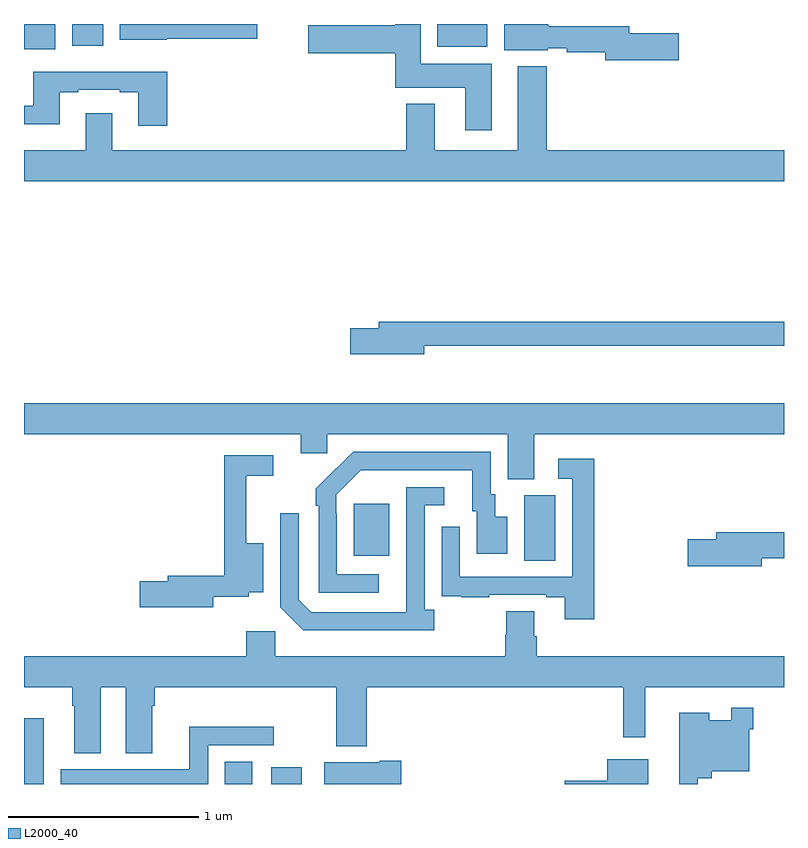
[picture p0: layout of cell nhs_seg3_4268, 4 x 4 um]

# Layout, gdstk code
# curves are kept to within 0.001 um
import gdstk
lib = gdstk.Library(unit=1e-6, precision=1e-09)
def R(c, l, rs):  # rectangles x0, y0, x1, y1
    for r in rs: c.add(gdstk.rectangle(r[:2], r[2:], *l))
def P(c, l, *ps):  # polygons
    for p in ps: c.add(gdstk.Polygon(p, *l))
L2000_40 = (2000, 40)

nhs_seg3_4268 = lib.new_cell('nhs_seg3_4268')
R(nhs_seg3_4268, L2000_40, [(337,708.4,337.105,708.745), (338.057,708.4,338.2,708.518), (338.3,708.4,338.461,708.487), (339.632,709.576,339.796,709.92), (338.735,709.601,338.923,709.876), (337,712.268,337.165,712.4), (339.176,712.28,339.439,712.4), (337.253,712.286,337.417,712.4)])
P(nhs_seg3_4268, L2000_40, [(339.463,712.192),(339.088,712.192),(339.088,712.4),(338.954,712.4),(338.954,712.394),(338.496,712.394),(338.496,712.247),(338.954,712.247),(338.954,712.064),(339.323,712.064),(339.323,711.84),(339.463,711.84)],
  [(340.447,712.352),(340.186,712.352),(340.186,712.388),(339.76,712.388),(339.76,712.4),(339.527,712.4),(339.527,712.262),(339.756,712.262),(339.756,712.272),(339.856,712.272),(339.856,712.252),(340.058,712.252),(340.058,712.21),(340.447,712.21)],
  [(337.752,712.322),(338.227,712.322),(338.227,712.4),(337.505,712.4),(337.505,712.316),(337.752,712.316)],
  [(341,711.736),(339.752,711.736),(339.752,712.177),(339.599,712.177),(339.599,711.736),(339.163,711.736),(339.163,711.979),(339.011,711.979),(339.011,711.736),(337.465,711.736),(337.465,711.931),(337.325,711.931),(337.325,711.736),(337,711.736),(337,711.572),(341,711.572)],
  [(337.754,712.15),(337.049,712.15),(337.049,711.969),(337,711.969),(337,711.872),(337.189,711.872),(337.189,712.041),(337.285,712.041),(337.285,712.053),(337.505,712.053),(337.505,712.041),(337.601,712.041),(337.601,711.864),(337.754,711.864)],
  [(339.106,710.706),(341,710.706),(341,710.834),(338.867,710.834),(338.867,710.798),(338.718,710.798),(338.718,710.663),(339.106,710.663)],
  [(339.685,710.24),(341,710.24),(341,710.404),(337,710.404),(337,710.24),(338.456,710.24),(338.456,710.142),(338.595,710.142),(338.595,710.24),(339.545,710.24),(339.545,710.005),(339.685,710.005)],
  [(338.866,709.503),(338.646,709.503),(338.646,709.823),(338.643,709.823),(338.643,709.923),(338.772,710.052),(339.359,710.052),(339.359,709.836),(339.383,709.836),(339.383,709.611),(339.544,709.611),(339.544,709.807),(339.481,709.807),(339.481,709.926),(339.456,709.926),(339.456,710.148),(338.732,710.148),(338.535,709.953),(338.535,709.865),(338.55,709.865),(338.55,709.407),(338.866,709.407)],
  [(337.996,709.385),(338.184,709.385),(338.184,709.409),(338.26,709.409),(338.26,709.666),(338.171,709.666),(338.171,710.022),(338.311,710.022),(338.311,710.13),(338.053,710.13),(338.053,709.496),(337.757,709.496),(337.757,709.466),(337.608,709.466),(337.608,709.331),(337.996,709.331)],
  [(340.001,710.113),(339.813,710.113),(339.813,710.007),(339.885,710.007),(339.885,709.491),(339.294,709.491),(339.294,709.753),(339.198,709.753),(339.198,709.498),(339.199,709.498),(339.199,709.389),(339.301,709.389),(339.301,709.383),(339.449,709.383),(339.449,709.395),(339.749,709.395),(339.749,709.383),(339.845,709.383),(339.845,709.266),(340.001,709.266)],
  [(339.16,709.318),(339.108,709.318),(339.108,709.866),(339.211,709.866),(339.211,709.962),(339.012,709.962),(339.011,709.305),(338.511,709.305),(338.445,709.371),(338.445,709.825),(338.349,709.825),(338.349,709.329),(338.47,709.208),(339.16,709.208)],
  [(340.882,709.588),(341,709.588),(341,709.724),(340.643,709.724),(340.643,709.688),(340.494,709.688),(340.494,709.546),(340.882,709.546)],
  [(339.538,709.31),(339.538,709.185),(339.533,709.185),(339.533,709.072),(338.322,709.072),(338.322,709.204),(338.171,709.204),(338.171,709.072),(337,709.072),(337,708.908),(337.253,708.908),(337.253,708.812),(337.265,708.812),(337.265,708.563),(337.405,708.563),(337.405,708.908),(337.535,708.908),(337.535,708.563),(337.675,708.563),(337.675,708.812),(337.688,708.812),(337.688,708.908),(338.644,708.908),(338.644,708.599),(338.804,708.599),(338.804,708.908),(340.153,708.908),(340.153,708.645),(340.27,708.645),(340.27,708.908),(341,708.908),(341,709.072),(339.698,709.072),(339.698,709.178),(339.685,709.178),(339.685,709.31)],
  [(340.545,708.431),(340.619,708.431),(340.619,708.467),(340.818,708.467),(340.818,708.689),(340.838,708.689),(340.838,708.802),(340.722,708.802),(340.722,708.736),(340.606,708.736),(340.606,708.775),(340.448,708.775),(340.448,708.4),(340.545,708.4)],
  [(337.969,708.603),(338.314,708.603),(338.314,708.701),(337.871,708.701),(337.871,708.478),(337.194,708.478),(337.194,708.4),(337.969,708.4)],
  [(340.285,708.529),(340.07,708.529),(340.07,708.416),(339.846,708.416),(339.846,708.4),(340.285,708.4)],
  [(338.986,708.522),(338.873,708.522),(338.873,708.514),(338.579,708.514),(338.579,708.4),(338.986,708.4)])

lib.write_gds('nhs_seg3_4268.gds')
